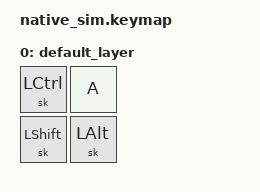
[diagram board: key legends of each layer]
#include <dt-bindings/zmk/keys.h>
#include <behaviors.dtsi>
#include <dt-bindings/zmk/input_mock.h>

&sk {
    quick-release;
};

/ {
    keymap {
        compatible = "zmk,keymap";

        default_layer {
            bindings = <
                &sk LEFT_CONTROL &kp A
                &sk LEFT_SHIFT &sk LEFT_ALT>;
        };
    };
};

&mock_input {
    events = <
        /* tap sk LEFT_CONTROL */
        ZMK_INPUT_MOCK_PRESS(0,0,10)
        ZMK_INPUT_MOCK_RELEASE(0,0,10)
        /* tap sk LEFT_SHIFT */
        ZMK_INPUT_MOCK_PRESS(1,0,10)
        ZMK_INPUT_MOCK_RELEASE(1,0,10)
        /* tap sk LEFT_ALT */
        ZMK_INPUT_MOCK_PRESS(1,1,10)
        ZMK_INPUT_MOCK_RELEASE(1,1,10)
        /* tap A */
        ZMK_INPUT_MOCK_PRESS(0,1,10)
        ZMK_INPUT_MOCK_RELEASE(0,1,10)
        /* tap A (no sticky keys anymore) */
        ZMK_INPUT_MOCK_PRESS(0,1,10)
        ZMK_INPUT_MOCK_RELEASE(0,1,10)
    >;
};
